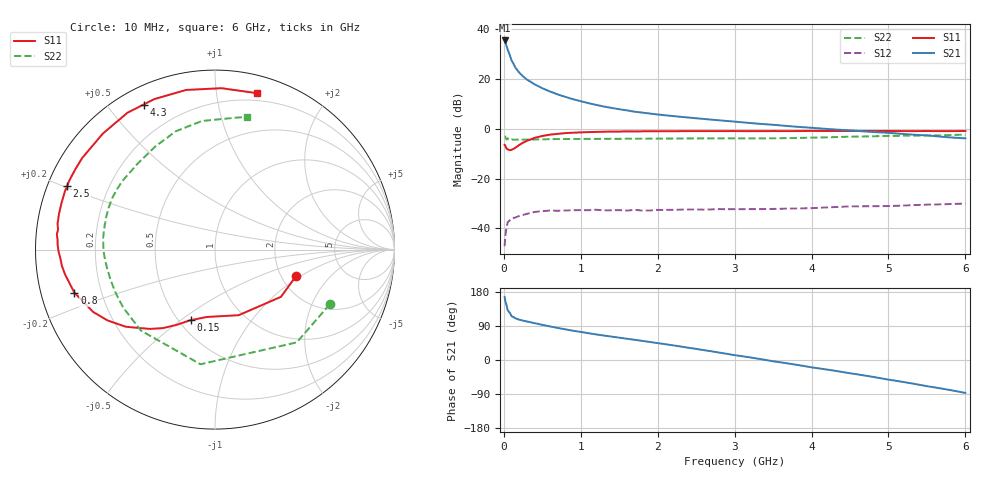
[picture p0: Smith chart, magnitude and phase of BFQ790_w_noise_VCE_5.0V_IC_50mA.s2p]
! (c) 2015  Infineon Technologies AG, Munich
! Infineon Technologies  Discrete & RF Semiconductors
! BFQ790
! VCE =  5.0 V,  IC =  50 mA
! Common Emitter S-Parameters:  May 2015
# GHz  S  MA  R  50
!  f  S11  S21  S12  S22
! GHz  MAG  ANG  MAG  ANG  MAG  ANG  MAG  ANG
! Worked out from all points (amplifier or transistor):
!   77 points, 10 MHz to 6 GHz, reference 50 ohm
!   highest |S21| = 35.4 dB at 10 MHz (marker M1)
!   |S21| within 3 dB of that: start of sweep to 42.76 MHz
!   unconditionally stable (mu >= 1): 1.463 GHz to end of sweep
!   at 130 MHz: K = 0.78, MSG = 30.8 dB, |S12| = -35.8 dB
!   at 2.2 GHz: K = 1.18, MAG = 16.2 dB, |S12| = -32.5 dB
!   at 6 GHz: K = 1.62, MAG = 8.5 dB, |S12| = -30.0 dB
!   lowest NFmin = 2.29 dB at 900 MHz
!   S11 on the Smith chart (normalised r, x): 10 MHz: 2.39, -0.92; 150 MHz: 0.57, -0.54; 800 MHz: 0.10, -0.15; 2.5 GHz: 0.06, +0.21; 4.3 GHz: 0.07, +0.62; 6 GHz: 0.14, +1.30
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0.01  0.4746 -18.3  59.16 166.4  0.0044 45.3  0.7086 -25.4
0.02  0.4519 -35.6  55.07 154.2  0.0072 45.1  0.689 -48.6
0.05  0.3886 -70.1  38.6 130.9  0.0133 34.6  0.6439 -97.2
0.1  0.3779 -96.7  23.53 115.7  0.0158 23.0  0.6115 -132.5
0.15  0.4161 -109.1  16.91 110.0  0.0166 21.0  0.6049 -147.6
0.2  0.4721 -117.2  13.39 106.5  0.0178 21.9  0.6038 -155.9
0.25  0.5253 -123.6  11.22 104.0  0.0186 17.5  0.6042 -161.1
0.3  0.5719 -129.4  9.692 101.6  0.0196 14.7  0.6059 -165.0
0.4  0.6568 -139.1  7.777 97.1  0.0214 12.5  0.6102 -170.3
0.5  0.717 -146.6  6.496 92.7  0.0222 8.6  0.6139 -174.0
0.7  0.7889 -158.4  4.886 84.6  0.0226 5.5  0.6208 -179.6
0.8  0.8191 -162.9  4.363 80.9  0.0229 2.5  0.6223 178.4
0.9  0.8327 -167.2  3.913 77.2  0.0232 0.3  0.6238 176.6
1.1  0.8574 -173.8  3.264 70.7  0.0232 -1.8  0.6267 173.5
1.5  0.8789 176.4  2.464 58.9  0.0233 -6.6  0.6279 168.5
2.1  0.8922 165.0  1.862 41.7  0.0235 -12.4  0.6344 160.8
2.5  0.8969 156.7  1.623 29.3  0.0239 -16.6  0.6393 154.0
3.1  0.8961 143.0  1.346 9.9  0.0243 -23.0  0.6406 141.3
4.1  0.9024 120.5  1.018 -22.2  0.0259 -31.3  0.6671 117.8
4.3  0.9008 116.2  0.967 -28.3  0.0268 -33.2  0.6784 113.0
5.1  0.8997 97.8  0.806 -54.9  0.0284 -43.7  0.7207 93.6
6  0.9025 74.9  0.642 -87.0  0.0315 -58.6  0.7619 76.3
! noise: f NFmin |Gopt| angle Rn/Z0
0.45  2.98  0.32  115  0.35
0.9  2.29  0.47  157  0.14
1.5  2.29  0.63  -179  0.07
1.8  2.5  0.66  -173  0.07
2.6  3.16  0.72  -155  0.19
3.5  3.95  0.82  -137  0.51
